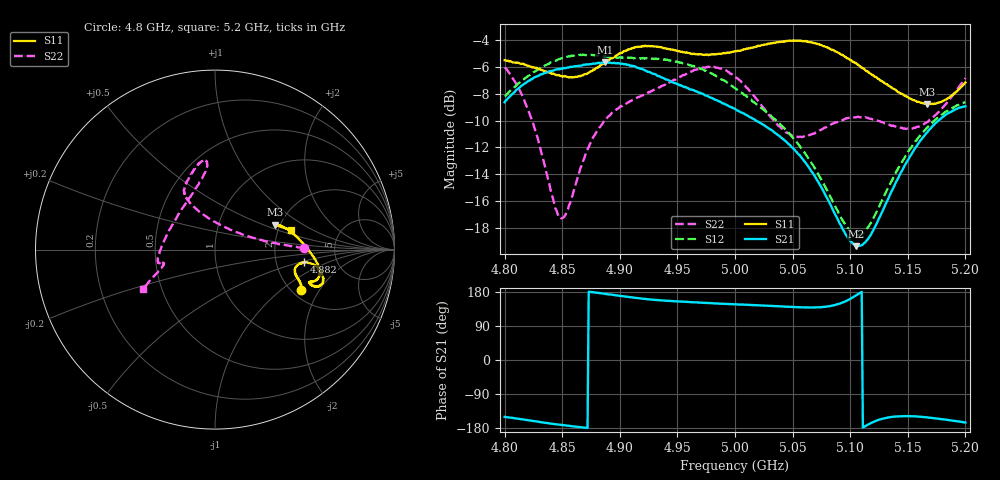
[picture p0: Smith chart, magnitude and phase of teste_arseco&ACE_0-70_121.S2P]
! Network Analyzer HP8722D
! Hewlett-Packard
! Data name: Linha & Wilkinson
! Saver's name: Rodrigo Anjos
! Comments: Teste da utilização de aquisição
! continua pelo VNA HP8722D
! Time and date: 8/5/2025 13:46
!  Frequency  S11  S21  S12  S22
# HZ  S  MA R 50
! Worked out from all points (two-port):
!   401 points, 4.8 GHz to 5.2 GHz, reference 50 ohm
!   highest |S21| = -5.67 dB at 4.887 GHz (marker M1); lowest = -19.3 dB at 5.105 GHz (marker M2)
!   |S21| within 3 dB of the highest: start of sweep to 4.988 GHz
!   lowest |S11| = -8.8 dB at 5.167 GHz (marker M3), VSWR 2.15, Z = 94.4 + j30.3 ohm
!   |S11| at or under -10 dB: nowhere
!   |S22| runs from -17.3 to -6.0 dB; largest |S21 - S12| = 1.1
!   S11 on the Smith chart (normalised r, x): 4.8 GHz: 2.24, -1.41; 4.882 GHz: 2.91, -0.54; 5.2 GHz: 2.35, +0.64
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4.8e9  0.5308 -25.2  0.37 -150.3  0.3902 9.3  0.4976 1.1
4.811e9  0.5206 -22.8  0.4141 -154.7  0.4311 7.6  0.4257 2.7
4.822e9  0.503 -20.6  0.446 -159.3  0.4668 5.9  0.3327 6.2
4.843e9  0.4714 -17.3  0.4873 -168.9  0.5272 2.8  0.1557 38.4
4.848e9  0.4641 -16.1  0.4907 -170.8  0.536 1.8  0.1387 57.7
4.855e9  0.4595 -14.2  0.4987 -173.5  0.5476 0.5  0.1481 86.0
4.867e9  0.4659 -11.1  0.5066 -177.8  0.5543 -0.9  0.2156 110.4
4.882e9  0.5031 -7.9  0.5192 176.7  0.5524 -2.2  0.297 118.5
4.887e9  0.5198 -7.9  0.5206 174.7  0.5493 -2.1  0.3175 118.7
4.913e9  0.5923 -11.6  0.5039 164.2  0.5406 -1.7  0.3794 116.7
4.934e9  0.5943 -16.2  0.4628 157.7  0.5363 -2.5  0.4198 110.7
4.975e9  0.5571 -19.3  0.3918 150.6  0.4841 -6.2  0.4989 97.8
5e9  0.5724 -20.0  0.3498 147.0  0.4176 -6.2  0.462 95.6
5.044e9  0.6262 -18.0  0.2649 140.7  0.2925 2.1  0.2859 131.9
5.067e9  0.6174 -13.8  0.2031 138.5  0.2182 8.9  0.2815 164.7
5.095e9  0.5495 -4.2  0.1216 153.5  0.1313 34.0  0.3197 -172.1
5.105e9  0.5164 0.5  0.1078 170.4  0.1182 52.8  0.3251 -168.7
5.116e9  0.4786 6.1  0.1155 -169.7  0.1277 74.3  0.3222 -166.9
5.134e9  0.4254 14.7  0.1655 -151.1  0.1811 94.5  0.3051 -166.0
5.167e9  0.3644 22.5  0.2864 -151.5  0.2989 101.3  0.3126 -161.5
5.183e9  0.3786 20.2  0.3324 -157.4  0.3417 101.2  0.3638 -156.9
5.2e9  0.4381 14.6  0.3574 -165.0  0.3708 101.7  0.4551 -151.1
